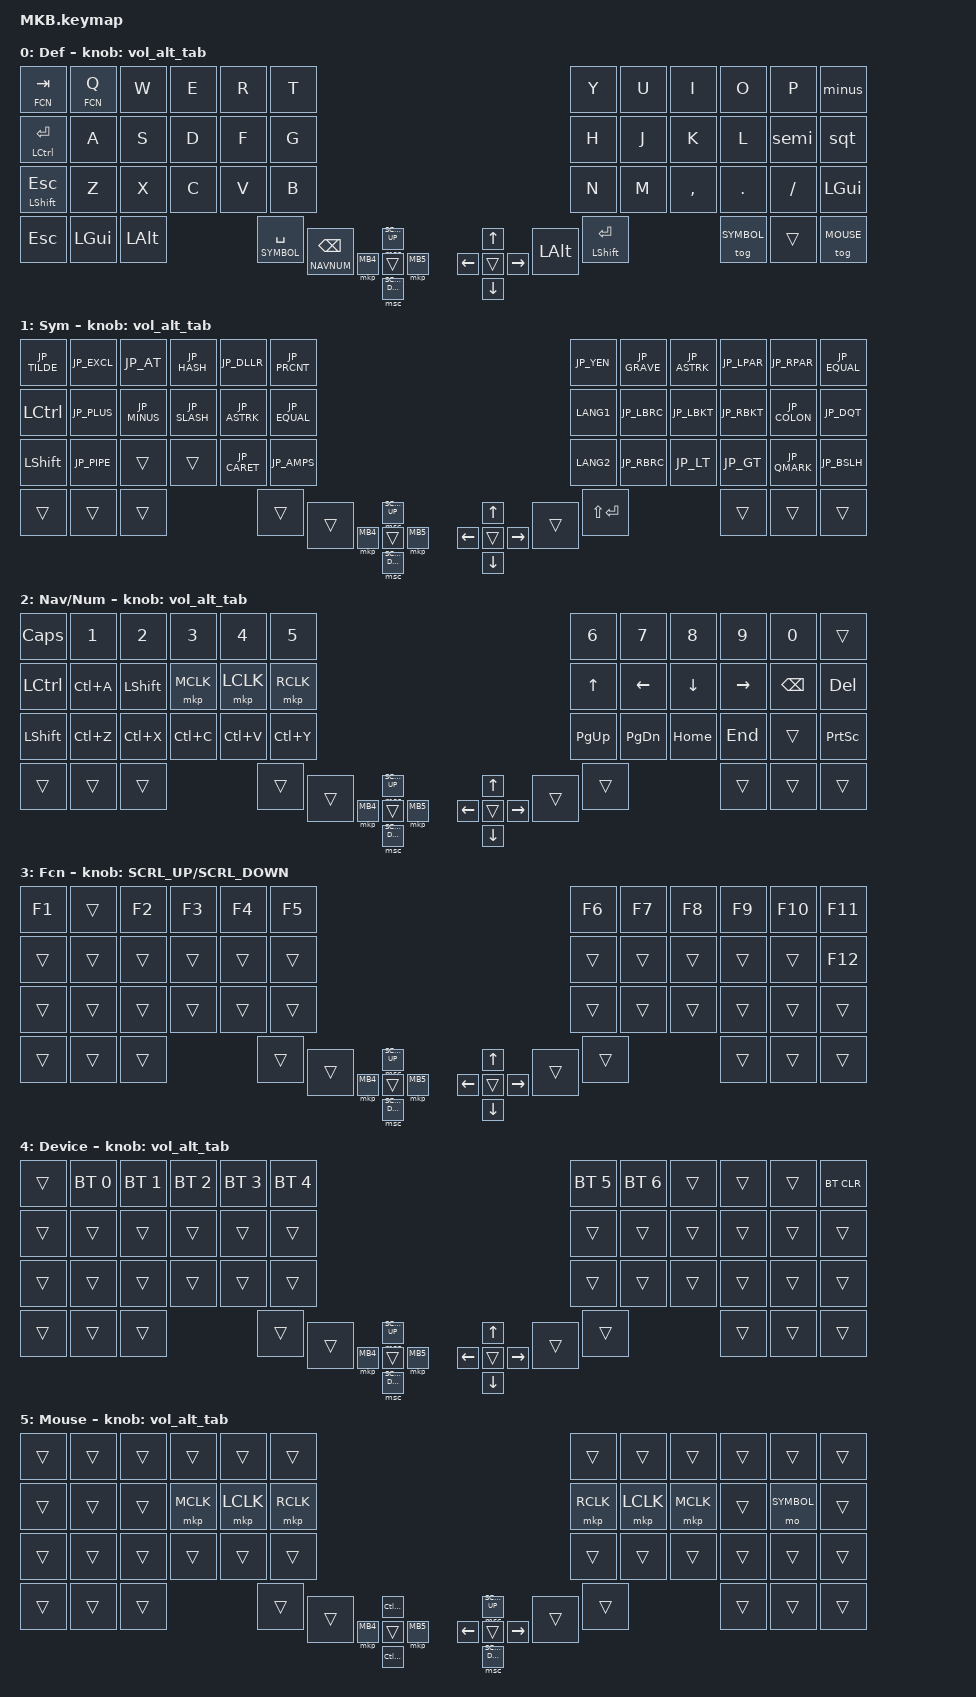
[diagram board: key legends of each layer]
#include <behaviors.dtsi>
#include <dt-bindings/zmk/bt.h>

#define ZMK_POINTING_DEFAULT_SCRL_VAL 480

#include <dt-bindings/zmk/keys.h>
#include <dt-bindings/zmk/pointing.h>
#include <dt-bindings/zmk/outputs.h>


#include "keycode_japanese.h"
#include <dt-bindings/zmk/mouse.h>

#define DEFAULT 0
#define SYMBOL 1
#define NAVNUM 2
#define FCN 3
#define DEVICE 4
#define MOUSE 5

&mt {
    flavor = "hold-preferred";
};

&lt {
    flavor = "hold-preferred";
};

&msc { 
    delay-ms = <0>;
    trigger-period-ms = <16>; // default:16
    x-input-code = <INPUT_REL_HWHEEL>;
    y-input-code = <INPUT_REL_WHEEL>;
    time-to-max-speed-ms = <300>;
    acceleration-exponent = <0>;
};

/ {

    conditional_layers {
        compatible = "zmk,conditional-layers";
        device_layer {
            if-layers = <SYMBOL NAVNUM>;
            then-layer = <DEVICE>;
        };
    };

    combos{
    };

    behaviors {
        // Japanese settings
        minus: jp-minus {
            compatible = "zmk,behavior-mod-morph";
            #binding-cells = <0>;
            bindings = <&kp JP_MINUS>, <&kp JP_UNDER>;
            mods = <(MOD_LSFT|MOD_RSFT)>;
        };
        semi: jp-semi {
            compatible = "zmk,behavior-mod-morph";
            #binding-cells = <0>;
            bindings = <&kp JP_SEMI>, <&kp JP_COLON>;
            mods = <(MOD_LSFT|MOD_RSFT)>;
        };
        sqt: jp-sqt {
            compatible = "zmk,behavior-mod-morph";
            #binding-cells = <0>;
            bindings = <&kp JP_SQT>, <&kp JP_DQT>;
            mods = <(MOD_LSFT|MOD_RSFT)>;
        };
        minusmod: minus_mod {
            compatible = "zmk,behavior-hold-tap";
            #binding-cells = <2>;
            flavor = "tap-preferred";
            tapping-term-ms = <200>;
            bindings = <&kp>, <&minus>;
        };
        minuslayer: minus_layer {
            compatible = "zmk,behavior-hold-tap";
            #binding-cells = <2>;
            flavor = "tap-preferred";
            hold-while-undecided;
            tapping-term-ms = <200>;
            bindings = <&mo>, <&minus>;
        };
        sqtmod: sqt_mod {
            compatible = "zmk,behavior-hold-tap";
            #binding-cells = <2>;
            flavor = "tap-preferred";
            tapping-term-ms = <200>;
            bindings = <&kp>, <&sqt>;
        };
        // Hold-Tap
        plt: positional_layer_tap {
            compatible = "zmk,behavior-hold-tap";
            #binding-cells = <2>;
            flavor = "hold-preferred";
            tapping-term-ms = <1000>;
            quick-tap-ms = <200>;
            bindings = <&mo>, <&kp>;
            hold-trigger-key-positions = <0>;
        };
        mth: mt-hold-while-undecided {
            compatible = "zmk,behavior-hold-tap";
            #binding-cells = <2>;
            flavor = "hold-preferred";
            hold-while-undecided;
            tapping-term-ms = <200>;
            bindings = <&kp>, <&kp>;
        };
        lth: lt-hold-while-undecided {
            compatible = "zmk,behavior-hold-tap";
            #binding-cells = <2>;
            flavor = "hold-preferred";
            hold-while-undecided;
            tapping-term-ms = <200>;
            bindings = <&mo>, <&kp>;
        };
        ltc: lt-with-click_L {
            compatible = "zmk,behavior-hold-tap";
            #binding-cells = <2>;
            flavor = "hold-preferred";
            hold-while-undecided;
            tapping-term-ms = <200>;
            bindings = <&mo>, <&mkp>;
        };
        mtt: mt-tap-preferred {
            compatible = "zmk,behavior-hold-tap";
            #binding-cells = <2>;
            tapping-term-ms = <150>;
            quick-tap-ms = <0>;
            flavor = "tap-preferred";
            bindings = <&kp>, <&kp>;
        };
        // pmtc: positional_mod_tap_click_L {
        //     compatible = "zmk,behavior-hold-tap";
        //     #binding-cells = <2>;
        //     flavor = "hold-preferred";
        //     tapping-term-ms = <1000>;
        //     quick-tap-ms = <200>;
        //     bindings = <&kp>, <&kp>;
        //     hold-trigger-key-positions = <CLICK_L>;
        // };
        ltt: lt-tap-preferred {
            compatible = "zmk,behavior-hold-tap";
            #binding-cells = <2>;
            flavor = "tap-preferred";
            tapping-term-ms = <200>;
            bindings = <&mo>, <&kp>;
        };

        // Encoders
        rot_kp: sensor_rotate_kp {
            compatible = "zmk,behavior-sensor-rotate-var";
            #sensor-binding-cells = <2>;
            bindings = <&kp>, <&kp>;
        };

        mouse_scrl: mouse_wheel_scrl {
            compatible = "zmk,behavior-sensor-rotate-var";
            #sensor-binding-cells = <2>;
            bindings = <&msc>, <&msc>;
            tap-ms = <10>;
        };
        alt_p: alt-positive {
            compatible = "zmk,behavior-mod-morph";
            #binding-cells = <0>;
            bindings = <&kp 0>, <&kp TAB>;
            mods = <(MOD_LALT|MOD_RALT)>;
            keep-mods = <(MOD_LALT)>;
        };
        gui_p: gui-positive {
            compatible = "zmk,behavior-mod-morph";
            #binding-cells = <0>;
            bindings = <&kp 0>, <&kp RIGHT>;
            mods = <(MOD_LGUI|MOD_RGUI)>;
            keep-mods = <(MOD_LGUI)>;
        };
        ag_p: alt-gui-positive {
            compatible = "zmk,behavior-mod-morph";
            #binding-cells = <0>;
            bindings = <&gui_p>, <&alt_p>;
            mods = <(MOD_LALT|MOD_RALT)>;
        };
        arrow_p: arrow-positive {
            compatible = "zmk,behavior-mod-morph";
            #binding-cells = <0>;
            bindings = <&kp RIGHT>, <&kp DOWN>;
            mods = <(MOD_LCTL|MOD_RCTL)>;
        };
        vol_arrow_p: volume-arrow-positive {
            compatible = "zmk,behavior-mod-morph";
            #binding-cells = <0>;
            bindings = <&kp C_VOL_UP>, <&arrow_p>;
            mods = <(MOD_LSFT|MOD_RSFT|MOD_LCTL|MOD_RCTL)>;
        };
        vol_alt_gui_p: volume-alt-gui-positive {
            compatible = "zmk,behavior-mod-morph";
            #binding-cells = <0>;
            bindings = <&vol_arrow_p>, <&ag_p>;
            mods = <(MOD_LALT|MOD_RALT|MOD_LGUI|MOD_RGUI)>;
        };
        alt_n: alt-negative {
            compatible = "zmk,behavior-mod-morph";
            #binding-cells = <0>;
            bindings = <&kp 0>, <&kp LS(TAB)>;
            mods = <(MOD_LALT|MOD_RALT)>;
            keep-mods = <(MOD_LALT)>;
        };
        gui_n: gui-negative {
            compatible = "zmk,behavior-mod-morph";
            #binding-cells = <0>;
            bindings = <&kp 0>, <&kp LEFT>;
            mods = <(MOD_LGUI|MOD_RGUI)>;
            keep-mods = <(MOD_LGUI)>;
        };
        ag_n: alt-gui-negative {
            compatible = "zmk,behavior-mod-morph";
            #binding-cells = <0>;
            bindings = <&gui_n>, <&alt_n>;
            mods = <(MOD_LALT|MOD_RALT)>;
        };
        arrow_n: arrow-negative {
            compatible = "zmk,behavior-mod-morph";
            #binding-cells = <0>;
            bindings = <&kp LEFT>, <&kp UP>;
            mods = <(MOD_LCTL|MOD_RCTL)>;
        };
        vol_arrow_n: volume-arrow-negative {
            compatible = "zmk,behavior-mod-morph";
            #binding-cells = <0>;
            bindings = <&kp C_VOL_DN>, <&arrow_n>;
            mods = <(MOD_LSFT|MOD_RSFT|MOD_LCTL|MOD_RCTL)>;
        };
        vol_alt_gui_n: volume-right-alt-gui-negative {
            compatible = "zmk,behavior-mod-morph";
            #binding-cells = <0>;
            bindings = <&vol_arrow_n>, <&ag_n>;
            mods = <(MOD_LALT|MOD_RALT|MOD_LGUI|MOD_RGUI)>;
        };
        vol_alt_tab: volume-alt-tab {
            compatible = "zmk,behavior-sensor-rotate";
            #sensor-binding-cells = <0>;
            bindings = <&vol_alt_gui_n>, <&vol_alt_gui_p>;
            tap-ms = <10>;
        };

    };


	keymap {
		compatible = "zmk,keymap";
		default_layer {
			label="Def";
			bindings = <
&lth FCN TAB    &plt FCN Q    &kp W   &kp E     &kp R             &kp T                 &kp Y         &kp U           &kp I            &kp O       &kp P     &minus
&mth LCTRL RET  &kp A         &kp S   &kp D     &kp F             &kp G                 &kp H         &kp J           &kp K            &kp L       &semi     &sqt
&mth LSHIFT ESC &kp Z         &kp X   &kp C     &kp V             &kp B                 &kp N         &kp M           &kp COMMA        &kp DOT     &kp SLASH &kp LGUI
&kp  ESC        &kp LGUI      &kp LALT   &lth SYMBOL SPACE &lth NAVNUM BSPC      &kp LALT      &mt LSHFT RET                    &tog SYMBOL &trans    &tog MOUSE
//  >               v             ^                 <         _                             ^             >               <                v          _
&mkp MB5        &msc SCRL_DOWN &msc SCRL_UP   &mkp MB4  &trans                        &kp UP        &kp RIGHT       &kp LEFT         &kp DOWN   &trans
			>;
            sensor-bindings = <&vol_alt_tab>;
		};
		
		symbol_layer {
			label="Sym";
			bindings = <
&kp JP_TILDE &kp JP_EXCL  &kp JP_AT     &kp JP_HASH     &kp JP_DLLR         &kp JP_PRCNT        &kp JP_YEN   &kp JP_GRAVE  &kp JP_ASTRK  &kp JP_LPAR  &kp JP_RPAR  &kp JP_EQUAL
&kp LCTRL    &kp JP_PLUS  &kp JP_MINUS  &kp JP_SLASH    &kp JP_ASTRK        &kp JP_EQUAL        &kp LANG1    &kp JP_LBRC   &kp JP_LBKT   &kp JP_RBKT  &kp JP_COLON &kp JP_DQT
&kp LSHIFT   &kp JP_PIPE  &trans        &trans          &kp JP_CARET        &kp JP_AMPS         &kp LANG2    &kp JP_RBRC   &kp JP_LT     &kp JP_GT    &kp JP_QMARK &kp JP_BSLH
&trans       &trans       &trans                        &trans              &trans              &trans       &kp LS(RET)                 &trans       &trans       &trans 
//  >               v             ^                 <         _                             ^             >               <                v          _
&mkp MB5        &msc SCRL_DOWN &msc SCRL_UP   &mkp MB4  &trans                        &kp UP        &kp RIGHT       &kp LEFT         &kp DOWN   &trans
			>;
            sensor-bindings = <&vol_alt_tab>;
		};
		
		navnum_layer {
			label="Nav/Num";
			bindings = <
&kp CAPSLOCK &kp N1    &kp N2     &kp N3    &kp N4    &kp N5    &kp N6    &kp N7    &kp N8   &kp N9    &kp N0   &trans
&kp LCTRL    &kp LC(A) &kp LSHIFT &mkp MCLK &mkp LCLK &mkp RCLK &kp UP    &kp LEFT  &kp DOWN &kp RIGHT &kp BSPC &kp DEL
&kp LSHIFT   &kp LC(Z) &kp LC(X)  &kp LC(C) &kp LC(V) &kp LC(Y) &kp PG_UP &kp PG_DN &kp HOME &kp END   &trans   &kp PSCRN
&trans       &trans    &trans               &trans    &trans    &trans    &trans             &trans    &trans   &trans
//  >               v             ^                 <         _                             ^             >               <                v          _
&mkp MB5        &msc SCRL_DOWN &msc SCRL_UP   &mkp MB4  &trans                        &kp UP        &kp RIGHT       &kp LEFT         &kp DOWN   &trans
			>;
            sensor-bindings = <&vol_alt_tab>;
		};
		
		function_layer {
			label="Fcn";
			bindings = <
&kp F1 &trans &kp F2 &kp F3 &kp F4 &kp F5 &kp F6 &kp F7 &kp F8 &kp F9 &kp F10 &kp F11
&trans &trans &trans &trans &trans &trans &trans &trans &trans &trans &trans  &kp F12
&trans &trans &trans &trans &trans &trans &trans &trans &trans &trans &trans  &trans
&trans &trans &trans        &trans &trans &trans &trans        &trans &trans  &trans
//  >               v             ^                 <         _                             ^             >               <                v          _
&mkp MB5        &msc SCRL_DOWN &msc SCRL_UP   &mkp MB4  &trans                        &kp UP        &kp RIGHT       &kp LEFT         &kp DOWN   &trans
			>;
            sensor-bindings = <&mouse_scrl SCRL_UP SCRL_DOWN>;
		};
		
		device_layer {
			label="Device";
			bindings = <
&trans            &bt BT_SEL 0     &bt BT_SEL 1     &bt BT_SEL 2     &bt BT_SEL 3     &bt BT_SEL 4         &bt BT_SEL 5      &bt BT_SEL 6     &trans           &trans           &trans           &bt BT_CLR
&trans            &trans           &trans           &trans           &trans           &trans               &trans            &trans           &trans           &trans           &trans           &trans
&trans            &trans           &trans           &trans           &trans           &trans               &trans            &trans           &trans           &trans           &trans           &trans
&trans            &trans           &trans                            &trans           &trans               &trans            &trans                            &trans           &trans           &trans
//  >               v             ^                 <         _                             ^             >               <                v          _
&mkp MB5        &msc SCRL_DOWN &msc SCRL_UP   &mkp MB4  &trans                        &kp UP        &kp RIGHT       &kp LEFT         &kp DOWN   &trans
			>;
            sensor-bindings = <&vol_alt_tab>;
		};

        mouse_layer {
			label="Mouse";
			bindings = <
&trans  &trans  &trans  &trans  &trans  &trans                              &trans  &trans  &trans  &trans  &trans  &trans
&trans  &trans  &trans  &mkp MCLK  &mkp LCLK  &mkp RCLK                     &mkp RCLK  &mkp LCLK  &mkp MCLK &trans  &mo SYMBOL &trans
&trans  &trans  &trans  &trans  &trans  &trans                              &trans  &trans  &trans  &trans  &trans  &trans
&trans  &trans  &trans          &trans  &trans                              &trans  &trans          &trans  &trans  &trans
//  >               v             ^                 <         _                             ^             >               <         v                _
&mkp MB5        &kp LC(TAB)   &kp LC(LS(TAB))   &mkp MB4  &trans                        &msc SCRL_UP  &kp RIGHT       &kp LEFT  &msc SCRL_DOWN   &trans
			>;
            sensor-bindings = <&vol_alt_tab>;
		};
	};
};
